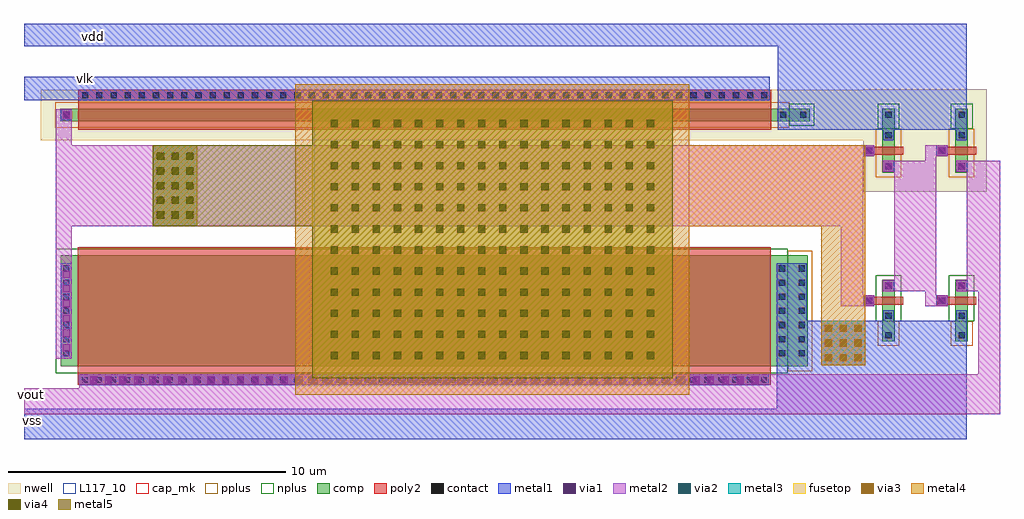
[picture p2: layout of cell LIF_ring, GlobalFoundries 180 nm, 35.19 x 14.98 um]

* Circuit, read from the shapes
.subckt LIF_ring vdd vlk vout vss
XM1 vss vout n1 vss nfet_03v3 w=4u l=25u
XM2 n2 n1 vss vss nfet_03v3 w=0.45u l=0.28u
XM3 vout n2 vss vss nfet_03v3 w=0.45u l=0.28u
XM4 vdd vlk n1 vdd pfet_03v3 w=0.45u l=25u
XM5 vdd n1 n2 vdd pfet_03v3 w=0.45u l=0.28u
XM6 vdd n2 vout vdd pfet_03v3 w=0.45u l=0.28u
XC7 n1 vss cap_mim_2f0fF c_width=13u c_length=10u
.ends

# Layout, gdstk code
from math import pi, radians
import gdstk
lib = gdstk.Library(unit=1e-6, precision=1e-09)
def R(c, l, rs):  # rectangles x0, y0, x1, y1
    for r in rs: c.add(gdstk.rectangle(r[:2], r[2:], *l))
def A(c, l, x, y, w, h, nx, ny, dx, dy):  # array of equal rectangles
    R(c, l, [(x+i*dx, y+j*dy, x+i*dx+w, y+j*dy+h) for i in range(nx) for j in range(ny)])
def P(c, l, *ps):  # polygons
    for p in ps: c.add(gdstk.Polygon(p, *l))
nwell = (21, 0)
comp = (22, 0)
poly2 = (30, 0)
pplus = (31, 0)
nplus = (32, 0)
contact = (33, 0)
metal1 = (34, 0)
via1 = (35, 0)
metal2 = (36, 0)
via2 = (38, 0)
via3 = (40, 0)
via4 = (41, 0)
metal3 = (42, 0)
metal4 = (46, 0)
fusetop = (75, 0)
metal5 = (81, 0)
cap_mk = (117, 5)
L117_10 = (117, 10)

nfet_8 = lib.new_cell('nfet$8')
R(nfet_8, comp, [(-0.42,0,0,0.45), (0,0,0.66,0.45), (0.66,0,1.08,0.45), (1.08,0,1.79,0.45)])
R(nfet_8, poly2, [(0.15,-0.66,0.51,-0.3), (0.19,-0.3,0.47,0.75)])
R(nfet_8, pplus, [(1.08,-0.17,1.96,0.62)])
R(nfet_8, nplus, [(-0.59,-0.24,1.08,0.69)])
R(nfet_8, contact, [(0.22,-0.59,0.44,-0.37), (-0.32,0.115,-0.1,0.335), (0.76,0.115,0.98,0.335), (1.47,0.115,1.69,0.335)])
R(nfet_8, metal1, [(0.14,-0.67,0.52,-0.29), (-0.4,0.035,-0.02,0.415), (0.68,0.035,1.06,0.415), (1.39,0.035,1.77,0.415)])

pfet_5 = lib.new_cell('pfet$5')

pfet_6 = lib.new_cell('pfet$6')
R(pfet_6, nwell, [(-1.15,-0.69,2.54,1.14)])
R(pfet_6, comp, [(-0.46,0,0,0.45), (0,0,0.66,0.45), (0.66,0,1.12,0.45), (1.12,0,1.85,0.45)])
R(pfet_6, poly2, [(0.19,-0.3,0.47,0.75), (0.14,0.75,0.52,1.13)])
R(pfet_6, pplus, [(-0.63,-0.24,1.12,0.69)])
R(pfet_6, nplus, [(1.12,-0.17,2.02,0.62)])
R(pfet_6, contact, [(-0.34,0.115,-0.12,0.335), (0.78,0.115,1,0.335), (1.51,0.115,1.73,0.335), (0.22,0.83,0.44,1.05)])
R(pfet_6, metal1, [(-0.42,0.035,-0.04,0.415), (0.7,0.035,1.08,0.415), (1.43,0.035,1.81,0.415), (0.14,0.75,0.52,1.13)])

pfet_7 = lib.new_cell('pfet$7')
R(pfet_7, nwell, [(-1.15,-0.69,27.26,1.14)])
R(pfet_7, comp, [(-0.46,0,0,0.45), (0,0,25.38,0.45), (25.38,0,25.84,0.45), (25.84,0,26.57,0.45)])
R(pfet_7, poly2, [(0.19,-0.3,25.19,0.75), (0.19,0.75,25.19,1.13)])
R(pfet_7, pplus, [(-0.63,-0.24,25.84,0.69)])
R(pfet_7, nplus, [(25.84,-0.17,26.74,0.62)])
A(pfet_7, contact, 0.34, 0.83, 0.22, 0.22, 49, 1, 0.51, 0)
R(pfet_7, contact, [(-0.34,0.115,-0.12,0.335), (25.5,0.115,25.72,0.335), (26.23,0.115,26.45,0.335)])
R(pfet_7, metal1, [(-0.42,0.035,-0.04,0.415), (25.42,0.035,25.8,0.415), (26.15,0.035,26.53,0.415), (0.26,0.75,25.12,1.13)])

nfet_9 = lib.new_cell('nfet$9')
R(nfet_9, comp, [(-0.42,0,0,4), (0,0,25.38,4), (25.38,0,25.8,4), (25.8,0,26.51,4)])
R(nfet_9, poly2, [(0.19,-0.66,25.19,-0.3), (0.19,-0.3,25.19,4.3)])
R(nfet_9, pplus, [(25.8,-0.17,26.68,4.17)])
R(nfet_9, nplus, [(-0.59,-0.24,25.8,4.24)])
A(nfet_9, contact, 0.34, -0.59, 0.22, 0.22, 49, 1, 0.51, 0)
A(nfet_9, contact, -0.32, 0.36, 0.22, 0.22, 1, 7, 0, 0.51)
A(nfet_9, contact, 25.48, 0.36, 0.22, 0.22, 1, 7, 0, 0.51)
A(nfet_9, contact, 26.19, 0.36, 0.22, 0.22, 1, 7, 0, 0.51)
R(nfet_9, metal1, [(0.26,-0.67,25.12,-0.29), (-0.4,0.28,-0.02,3.72), (25.4,0.28,25.78,3.72), (26.11,0.28,26.49,3.72)])

via_dev_5 = lib.new_cell('via_dev$5')
R(via_dev_5, metal1, [(0,0,0.4,0.4)])
R(via_dev_5, via1, [(0.07,0.07,0.33,0.33)])
R(via_dev_5, metal2, [(0,0,0.4,0.4)])

via_dev_6 = lib.new_cell('via_dev$6')
R(via_dev_6, metal1, [(0,0,24.86,0.4)])
A(via_dev_6, via1, 0.375, 0.07, 0.26, 0.26, 46, 1, 0.53, 0)
R(via_dev_6, metal2, [(0,0,24.86,0.4)])

via_dev_7 = lib.new_cell('via_dev$7')
R(via_dev_7, metal1, [(0,0,0.4,3.44)])
A(via_dev_7, via1, 0.07, 0.265, 0.26, 0.26, 1, 6, 0, 0.53)
R(via_dev_7, metal2, [(0,0,0.4,3.44)])

cap_mim = lib.new_cell('cap_mim')
A(cap_mim, via4, 0.69, 0.67, 0.26, 0.26, 12, 16, 0.76, 0.76)
R(cap_mim, metal4, [(-0.6,-0.6,10.6,13.6)])
R(cap_mim, fusetop, [(0,0,10,13)])
R(cap_mim, metal5, [(0,0,10,13)])
R(cap_mim, cap_mk, [(-0.6,-0.6,10.6,13.6)])
R(cap_mim, L117_10, [(0,0,10,0.1)])

via_dev_8 = lib.new_cell('via_dev$8')
R(via_dev_8, metal2, [(0,0,1.6,2.92)])
A(via_dev_8, via2, 0.14, 0.27, 0.26, 0.26, 3, 5, 0.53, 0.53)
A(via_dev_8, via3, 0.14, 0.27, 0.26, 0.26, 3, 5, 0.53, 0.53)
A(via_dev_8, via4, 0.14, 0.27, 0.26, 0.26, 3, 5, 0.53, 0.53)
R(via_dev_8, metal3, [(0,0,1.6,2.92)])
R(via_dev_8, metal4, [(0,0,1.6,2.92)])
R(via_dev_8, metal5, [(0,0,1.6,2.92)])

via_dev_9 = lib.new_cell('via_dev$9')
R(via_dev_9, metal1, [(0,0,1.6,1.6)])
A(via_dev_9, via1, 0.14, 0.14, 0.26, 0.26, 3, 3, 0.53, 0.53)
R(via_dev_9, metal2, [(0,0,1.6,1.6)])
A(via_dev_9, via2, 0.14, 0.14, 0.26, 0.26, 3, 3, 0.53, 0.53)
A(via_dev_9, via3, 0.14, 0.14, 0.26, 0.26, 3, 3, 0.53, 0.53)
R(via_dev_9, metal3, [(0,0,1.6,1.6)])
R(via_dev_9, metal4, [(0,0,1.6,1.6)])

lif_ring = lib.new_cell('LIF_ring')
R(lif_ring, nwell, [(0.88,3.845,0.89,7.535), (0.89,3.845,1.695,7.535), (-2.175,5.7,-0.94,7.53)])
R(lif_ring, metal1, [(-0.215,-1.52,0.165,-1.14), (1.705,5.135,2.085,5.515)])
P(lif_ring, metal1, [(-4.015,6.075),(-4.015,9.09),(-31.195,9.09),(-31.195,9.905),(2.8,9.905),(2.8,6.075)],
  [(-31.195,-5.08),(-31.195,-3.975),(-4.055,-3.975),(-4.055,1.27),(-2.965,1.27),(-2.965,-0.81),(2.8,-0.81),(2.8,-5.08)],
  [(-29.175,7.14),(-29.175,7.145),(-31.195,7.145),(-31.195,7.995),(-4.315,7.995),(-4.315,7.14)])
R(lif_ring, metal2, [(-30.045,-2.17,-29.465,6.815), (-1.75,-0.28,-0.93,5.525), (1.305,-0.28,1.705,5.525), (0.175,0.26,1.705,4.965), (-29.465,2.605,-1.75,5.525)])
P(lif_ring, metal2, [(-31.195,-4.185),(-31.195,-3.245),(-29.195,-3.245),(-29.195,-2.74),(3.21,-2.74),(3.21,0.26),(2.41,0.26),(2.41,0.66),(2.8,0.66),(2.8,4.565),(2.41,4.565),(2.41,4.965),(3.995,4.965),(3.995,-4.185)])
P(lif_ring, metal4, [(-2.455,-1.265),(-2.455,2.605),(-7.21,2.605),(-7.21,5.525),(-0.855,5.525),(-0.855,-1.265)])
R(lif_ring, metal5, [(-24.945,2.605,-20.81,5.525)])
lif_ring.add(gdstk.Reference(nfet_8, (-0.25,0.25), rotation=3*pi/2))
lif_ring.add(gdstk.Reference(nfet_8, (2.385,0.25), rotation=3*pi/2))
lif_ring.add(gdstk.Reference(pfet_5, (-1.225,4.2), rotation=3*pi/2))
lif_ring.add(gdstk.Reference(pfet_6, (2.835,4.995), rotation=pi/2))
lif_ring.add(gdstk.Reference(pfet_6, (0.2,4.995), rotation=pi/2))
lif_ring.add(gdstk.Reference(pfet_7, (-29.435,6.39)))
lif_ring.add(gdstk.Reference(nfet_9, (-29.455,-2.45)))
lif_ring.add(gdstk.Reference(via_dev_5, (1.705,5.125)))
lif_ring.add(gdstk.Reference(via_dev_5, (2.41,0.26)))
lif_ring.add(gdstk.Reference(via_dev_5, (2.41,4.565)))
lif_ring.add(gdstk.Reference(via_dev_5, (-0.225,0.26)))
lif_ring.add(gdstk.Reference(via_dev_5, (-0.225,4.565)))
lif_ring.add(gdstk.Reference(via_dev_5, (-0.93,5.125)))
lif_ring.add(gdstk.Reference(via_dev_5, (-0.93,-0.28)))
lif_ring.add(gdstk.Reference(via_dev_5, (1.705,-0.28)))
lif_ring.add(gdstk.Reference(via_dev_5, (-29.865,6.415)))
lif_ring.add(gdstk.Reference(via_dev_6, (-29.195,-3.14)))
lif_ring.add(gdstk.Reference(via_dev_7, (-29.865,-2.17)))
lif_ring.add(gdstk.Reference(cap_mim, (-20.81,7.125), rotation=3*pi/2))
lif_ring.add(gdstk.Reference(via_dev_8, (-26.545,2.605)))
lif_ring.add(gdstk.Reference(via_dev_9, (-2.455,-2.41)))
lif_ring.add(gdstk.Label('vlk', (-28.98,7.925), layer=34, texttype=10))
lif_ring.add(gdstk.Label('vdd', (-28.69,9.435), layer=34, texttype=10))
lif_ring.add(gdstk.Label('vss', (-30.88,-4.39), layer=34, texttype=10))
lif_ring.add(gdstk.Label('vout', (-30.915,-3.45), layer=36, texttype=10))

lib.write_gds('LIF_ring.gds')
